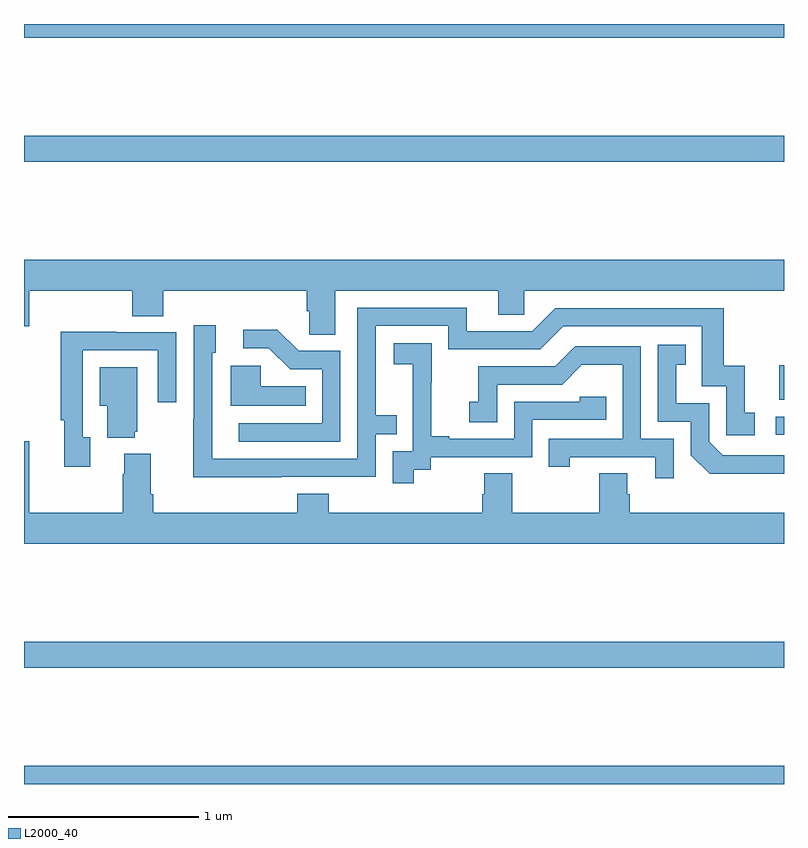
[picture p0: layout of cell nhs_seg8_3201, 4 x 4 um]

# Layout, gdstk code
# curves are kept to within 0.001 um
import gdstk
lib = gdstk.Library(unit=1e-6, precision=1e-09)
def R(c, l, rs):  # rectangles x0, y0, x1, y1
    for r in rs: c.add(gdstk.rectangle(r[:2], r[2:], *l))
def P(c, l, *ps):  # polygons
    for p in ps: c.add(gdstk.Polygon(p, *l))
L2000_40 = (2000, 40)

nhs_seg8_3201 = lib.new_cell('nhs_seg8_3201')
R(nhs_seg8_3201, L2000_40, [(309,1117.9,313,1117.996), (309,1118.512,313,1118.648), (312.957,1119.738,313,1119.834), (312.974,1119.923,313,1120.105), (309,1121.176,313,1121.312), (309,1121.828,313,1121.9)])
P(nhs_seg8_3201, L2000_40, [(310.639,1120.496),(311.495,1120.496),(311.495,1120.369),(311.634,1120.369),(311.634,1120.496),(313,1120.496),(313,1120.66),(309,1120.66),(309,1120.308),(309.028,1120.308),(309.028,1120.496),(309.569,1120.496),(309.569,1120.363),(309.734,1120.363),(309.734,1120.496),(310.487,1120.496),(310.487,1120.387),(310.5,1120.387),(310.5,1120.264),(310.639,1120.264)],
  [(310.355,1119.516),(310.851,1119.516),(310.851,1119.741),(310.961,1119.741),(310.961,1119.842),(310.851,1119.842),(310.851,1120.311),(311.232,1120.311),(311.232,1120.188),(311.718,1120.188),(311.838,1120.308),(312.567,1120.308),(312.567,1119.993),(312.696,1119.993),(312.696,1119.735),(312.847,1119.735),(312.847,1119.855),(312.794,1119.855),(312.794,1120.102),(312.683,1120.102),(312.683,1120.404),(311.796,1120.404),(311.676,1120.284),(311.329,1120.284),(311.329,1120.407),(310.755,1120.407),(310.755,1119.612),(309.991,1119.612),(309.99,1120.17),(310.009,1120.17),(310.009,1120.315),(309.894,1120.315),(309.894,1119.821),(309.892,1119.821),(309.892,1119.515)],
  [(310.665,1120.179),(310.446,1120.179),(310.333,1120.292),(310.155,1120.292),(310.155,1120.194),(310.289,1120.194),(310.4,1120.083),(310.569,1120.083),(310.569,1119.798),(310.131,1119.798),(310.131,1119.702),(310.665,1119.702)],
  [(309.349,1119.726),(309.309,1119.726),(309.309,1120.182),(309.705,1120.182),(309.705,1119.909),(309.801,1119.909),(309.801,1120.278),(309.485,1120.278),(309.485,1120.28),(309.193,1120.28),(309.193,1119.814),(309.212,1119.814),(309.212,1119.57),(309.349,1119.57)],
  [(311.05,1119.553),(311.142,1119.553),(311.142,1119.621),(311.676,1119.621),(311.676,1119.816),(312.065,1119.816),(312.065,1119.939),(311.925,1119.939),(311.925,1119.912),(311.58,1119.912),(311.58,1119.717),(311.239,1119.717),(311.239,1119.73),(311.144,1119.73),(311.144,1120.013),(311.145,1120.013),(311.145,1120.219),(310.947,1120.219),(310.947,1120.109),(311.045,1120.109),(311.045,1119.881),(311.046,1119.881),(311.046,1119.651),(310.941,1119.651),(310.941,1119.483),(311.05,1119.483)],
  [(313,1119.63),(312.678,1119.63),(312.606,1119.702),(312.606,1119.903),(312.433,1119.903),(312.433,1120.107),(312.482,1120.107),(312.482,1120.213),(312.336,1120.213),(312.336,1119.807),(312.51,1119.807),(312.51,1119.63),(312.608,1119.533),(313,1119.533)],
  [(312.42,1119.717),(312.246,1119.717),(312.246,1120.203),(311.9,1120.203),(311.795,1120.098),(311.392,1120.098),(311.392,1119.913),(311.343,1119.913),(311.343,1119.804),(311.49,1119.804),(311.49,1120.002),(311.832,1120.002),(311.936,1120.106),(312.15,1120.106),(312.15,1119.717),(311.761,1119.717),(311.761,1119.57),(311.872,1119.57),(311.872,1119.621),(312.323,1119.621),(312.323,1119.51),(312.42,1119.51)],
  [(310.484,1119.994),(310.245,1119.994),(310.245,1120.102),(310.088,1120.102),(310.088,1119.89),(310.484,1119.89)],
  [(309.584,1119.753),(309.595,1119.753),(309.595,1120.093),(309.398,1120.093),(309.398,1119.89),(309.437,1119.89),(309.437,1119.722),(309.584,1119.722)],
  [(313,1119.328),(312.188,1119.328),(312.188,1119.426),(312.175,1119.426),(312.175,1119.536),(312.028,1119.536),(312.028,1119.328),(311.571,1119.328),(311.571,1119.536),(311.423,1119.536),(311.423,1119.426),(311.411,1119.426),(311.411,1119.328),(310.604,1119.328),(310.604,1119.427),(310.439,1119.427),(310.439,1119.328),(309.68,1119.328),(309.68,1119.424),(309.667,1119.424),(309.667,1119.637),(309.527,1119.637),(309.527,1119.53),(309.52,1119.53),(309.52,1119.328),(309.028,1119.328),(309.028,1119.703),(309,1119.703),(309,1119.164),(313,1119.164)])

lib.write_gds('nhs_seg8_3201.gds')
